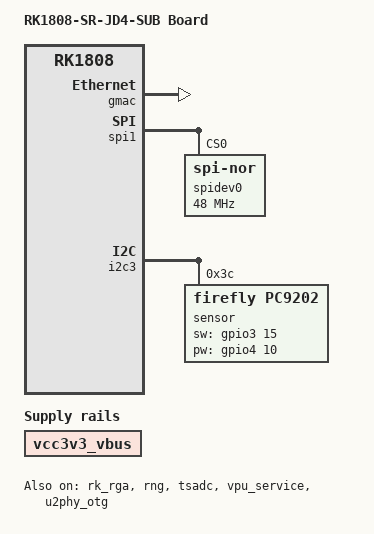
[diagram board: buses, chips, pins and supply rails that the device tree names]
// SPDX-License-Identifier: (GPL-2.0+ OR MIT)
/*
 * Copyright (c) 2018 Fuzhou Rockchip Electronics Co., Ltd
 */

/dts-v1/;
#include "rk1808-firefly-port.dtsi"

/ {
	model = "RK1808-SR-JD4-SUB Board";
	compatible = "rockchip,rk1808-firefly", "rockchip,rk1808";
	
	/delete-node/ wireless-bluetooth;
	/delete-node/ wireless-wlan;
	
	chosen {
		bootargs = "earlycon=uart8250,mmio32,0xff540000 console=ttyFIQ0 ro root=PARTLABEL=rootfs rootfstype=ext4 rootwait overlayroot=device:dev=PARTLABEL=userdata,fstype=ext4,mkfs=1 swiotlb=1 kpti=0 snd_aloop.index=7 systemd.gpt_auto=0 cgroup_disable=all";
	};

    fiq-debugger {
        compatible = "rockchip,fiq-debugger";
        rockchip,serial-id = <1>;
        rockchip,wake-irq = <0>;
        /* If enable uart uses irq instead of fiq */
        rockchip,irq-mode-enable = <1>;
        rockchip,baudrate = <1500000>;  /* Only 115200 and 1500000 */
        pinctrl-names = "default";
        pinctrl-0 = <&uart1m1_xfer>;
        interrupts = <GIC_SPI 242 IRQ_TYPE_LEVEL_HIGH>;
        status = "okay";
    };

	leds {
		user {
			default-state = "on";
		};
	};

	vcc3v3_vbus: vcc3v3-vbus {
		compatible = "regulator-fixed";
		regulator-name = "vcc3v3_vbus"; 
		regulator-always-on;
		regulator-boot-on;
	};

    ion {
        compatible = "rockchip,ion";
        #address-cells = <1>;
        #size-cells = <0>;

        cma-heap {
            reg = <0x00000000 0x02000000>;
        };

        system-heap {
        };
	};

};

/delete-node/ &rk809_sound;

&rk809 {
	/delete-node/ codec;
};

&vcc_4g {
	status = "disabled";
};
&sdio_pwrseq {
	status = "disabled";
};

&vcc_mipi {
	status = "disabled";
};

&dvdd_1v2 {
	status = "disabled";
};

&vcc5v0_usb2_host {
	status = "disabled";
};

&vcc_otg_vbus {
	status = "disabled";
};

&pwm0 {
    status = "disabled";
};

&ov13850 {
	status = "disabled";
};

&mipi_dphy_rx {
	status = "disabled";
};

&rk_rga {
	status =  "okay";
};

&rng {
	status = "okay";
};

&rockchip_suspend {
	status = "okay";
	rockchip,sleep-debug-en = <1>;
};

&tsadc {
	rockchip,hw-tshut-mode = <1>; /* tshut mode 0:CRU 1:GPIO */
	rockchip,hw-tshut-polarity = <0>; /* tshut polarity 0:LOW 1:HIGH */
	pinctrl-names = "gpio", "otpout";
	pinctrl-0 = <&tsadc_otp_gpio>;
	pinctrl-1 = <&tsadc_otp_out>;
	status = "okay";
};

&vpu_mmu {
	status = "okay";
};

&vpu_service {
	status = "okay";
};

&gmac {
	status = "okay";
	tx_delay = <0x36>;
	rx_delay = <0x26>;

};

&i2s0 {
	status = "disabled";
};

&mipi_dphy_rx {
	status = "disabled";
};

&isp_mmu {
	status = "disabled";
};

&sdio {
	status = "disabled";
};

&uart4 {
	status = "disbaled";
};

&spi_wk2xxx {
	status = "disabled";
};

&spi1 {
        status = "okay";
        max-freq = <48000000>;
        dev-port = <0>;
       	dma-names = "tx", "rx";
	pinctrl-0 = <&spi1m1_clk &spi1m1_csn0 &spi1m1_miso &spi1m1_mosi>;
	pinctrl-1 = <&spi1m1_clk_hs &spi1m1_csn0 &spi1m1_miso_hs &spi1m1_mosi_hs>;

	spidev0: spidev@00 {
                 status = "okay";
                 //compatible = "linux,spidev";
                 compatible = "jedec,spi-nor";
                 reg = <0x00>;
                 spi-max-frequency = <48000000>;
         };
};

&rkisp1 {
	status = "disabled";
};

&i2c3 {
	status = "okay";

        sensor@3c {
                 status = "okay";
                 compatible = "firefly,pc9202";
                 sw-gpio = <&gpio3 15 GPIO_ACTIVE_HIGH>;
                 pw-gpio = <&gpio4 10 GPIO_ACTIVE_HIGH>;
                 pinctrl-names = "default";
                 pinctrl-0 = <&wdt_ctl>;
                 pinctrl-1 = <&wdt_pwr_pin>;
                 reg = <0x3c>;
        };

};

&u2phy_otg {
	status = "okay";
	vbus-supply = <&vcc3v3_vbus>;
};

&u2phy_host {
	status = "disabled";
};

&sdmmc {
	status = "disabled";
};

&pinctrl {

       wdt-pin {
                wdt_pwr_pin: wdt-pwr-pin {
                       rockchip,pins = <RK_GPIO4 10 RK_FUNC_GPIO &pcfg_pull_up>;
                };

                wdt_ctl: wdt-ctl {
                       rockchip,pins = <RK_GPIO3 15 RK_FUNC_GPIO &pcfg_pull_up>;
                };

       };

};

